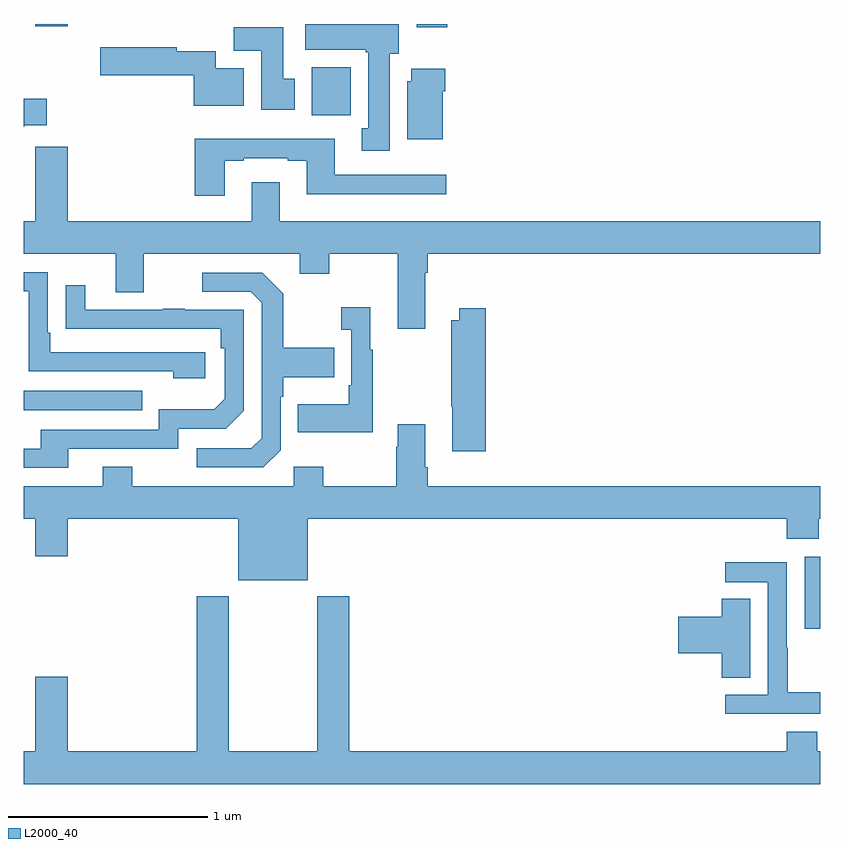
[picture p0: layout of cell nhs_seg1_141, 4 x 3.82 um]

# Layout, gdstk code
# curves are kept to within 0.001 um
import gdstk
lib = gdstk.Library(unit=1e-6, precision=1e-09)
def R(c, l, rs):  # rectangles x0, y0, x1, y1
    for r in rs: c.add(gdstk.rectangle(r[:2], r[2:], *l))
def P(c, l, *ps):  # polygons
    for p in ps: c.add(gdstk.Polygon(p, *l))
L2000_40 = (2000, 40)

nhs_seg1_141 = lib.new_cell('nhs_seg1_141')
R(nhs_seg1_141, L2000_40, [(120.923,571.161,121,571.522), (117,572.259,117.593,572.355), (118.445,573.74,118.642,573.982), (118.973,574.182,119.126,574.199), (117.056,574.188,117.22,574.199)])
P(nhs_seg1_141, L2000_40, [(118.837,574.05),(118.882,574.05),(118.882,574.199),(118.413,574.199),(118.413,574.07),(118.717,574.07),(118.717,574.057),(118.73,574.057),(118.73,573.674),(118.697,573.674),(118.697,573.561),(118.837,573.561)],
  [(118.36,573.924),(118.303,573.924),(118.303,574.183),(118.054,574.183),(118.054,574.064),(118.193,574.064),(118.193,573.768),(118.36,573.768)],
  [(118.105,573.976),(117.964,573.976),(117.964,574.063),(117.768,574.063),(117.768,574.083),(117.384,574.083),(117.384,573.941),(117.854,573.941),(117.854,573.788),(118.105,573.788)],
  [(119.104,573.86),(119.117,573.86),(119.117,573.973),(118.946,573.973),(118.946,573.912),(118.925,573.912),(118.925,573.62),(119.104,573.62)],
  [(117.002,573.689),(117.115,573.689),(117.115,573.824),(117,573.824),(117,573.682),(117.002,573.682)],
  [(118.009,573.513),(118.105,573.513),(118.105,573.525),(118.325,573.525),(118.325,573.513),(118.421,573.513),(118.421,573.344),(119.122,573.344),(119.122,573.441),(118.561,573.441),(118.561,573.622),(117.857,573.622),(117.857,573.336),(118.009,573.336)],
  [(119.017,572.948),(119.03,572.948),(119.03,573.044),(121,573.044),(121,573.208),(118.285,573.208),(118.285,573.403),(118.145,573.403),(118.145,573.208),(117.22,573.208),(117.22,573.583),(117.056,573.583),(117.056,573.208),(117,573.208),(117,573.044),(117.461,573.044),(117.461,572.85),(117.601,572.85),(117.601,573.044),(118.385,573.044),(118.385,572.945),(118.533,572.945),(118.533,573.044),(118.877,573.044),(118.877,572.667),(119.017,572.667)],
  [(117.91,572.55),(117.133,572.55),(117.133,572.647),(117.12,572.647),(117.12,572.952),(117,572.952),(117,572.856),(117.024,572.856),(117.024,572.454),(117.749,572.454),(117.749,572.42),(117.91,572.42)],
  [(118.29,572.058),(118.29,572.327),(118.303,572.327),(118.303,572.423),(118.559,572.423),(118.559,572.571),(118.303,572.571),(118.303,572.843),(118.197,572.949),(117.897,572.949),(117.897,572.853),(118.14,572.853),(118.194,572.799),(118.194,572.118),(118.143,572.067),(117.867,572.067),(117.867,571.971),(118.203,571.971)],
  [(117.223,572.064),(117.774,572.064),(117.774,572.166),(118.014,572.166),(118.104,572.256),(118.104,572.763),(117.809,572.763),(117.809,572.768),(117.697,572.768),(117.697,572.763),(117.307,572.763),(117.307,572.887),(117.211,572.887),(117.211,572.668),(117.988,572.667),(117.988,572.57),(118.008,572.57),(118.008,572.316),(117.955,572.263),(117.678,572.263),(117.678,572.16),(117.083,572.16),(117.083,572.064),(117,572.064),(117,571.968),(117.223,571.968)],
  [(118.753,572.563),(118.741,572.563),(118.741,572.776),(118.593,572.776),(118.593,572.663),(118.644,572.663),(118.644,572.383),(118.632,572.383),(118.632,572.287),(118.375,572.287),(118.375,572.147),(118.753,572.147)],
  [(119.321,572.77),(119.186,572.77),(119.186,572.71),(119.146,572.71),(119.146,572.275),(119.153,572.275),(119.153,572.052),(119.321,572.052)],
  [(118.426,571.712),(120.833,571.712),(120.833,571.613),(120.993,571.613),(120.993,571.712),(121,571.712),(121,571.876),(119.03,571.876),(119.03,571.972),(119.017,571.972),(119.017,572.188),(118.877,572.188),(118.877,572.075),(118.87,572.075),(118.87,571.876),(118.503,571.876),(118.503,571.975),(118.356,571.975),(118.356,571.876),(117.543,571.876),(117.543,571.975),(117.395,571.975),(117.395,571.876),(117,571.876),(117,571.712),(117.056,571.712),(117.056,571.524),(117.22,571.524),(117.22,571.712),(118.076,571.712),(118.076,571.403),(118.426,571.403)],
  [(121,570.841),(120.837,570.841),(120.837,571.064),(120.834,571.064),(120.834,571.494),(120.525,571.494),(120.525,571.395),(120.738,571.395),(120.738,570.828),(120.525,570.828),(120.525,570.732),(121,570.732)],
  [(121,570.544),(120.985,570.544),(120.985,570.643),(120.833,570.643),(120.833,570.544),(118.634,570.544),(118.634,571.324),(118.474,571.324),(118.474,570.544),(118.029,570.544),(118.029,571.324),(117.869,571.324),(117.869,570.544),(117.22,570.544),(117.22,570.919),(117.056,570.919),(117.056,570.544),(117,570.544),(117,570.38),(121,570.38)],
  [(120.649,571.31),(120.506,571.31),(120.506,571.22),(120.288,571.22),(120.288,571.037),(120.506,571.037),(120.506,570.913),(120.649,570.913)])

lib.write_gds('nhs_seg1_141.gds')
